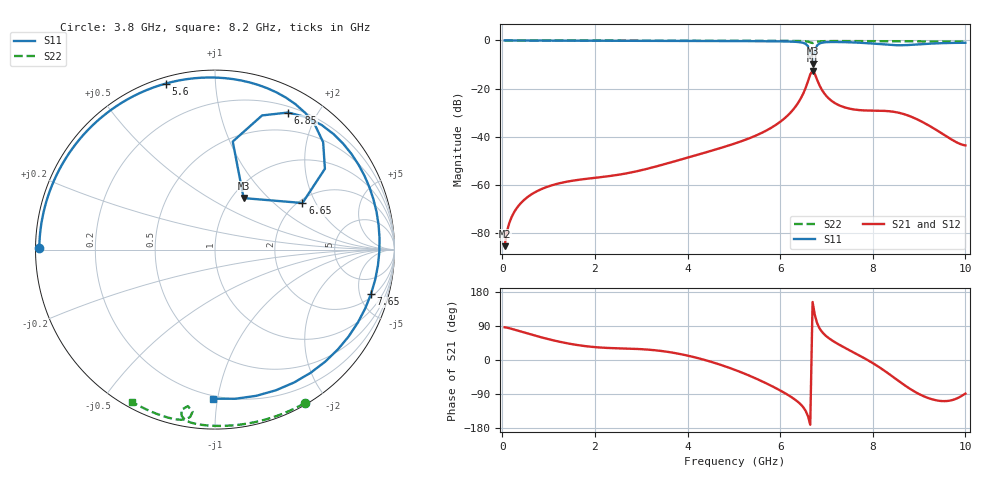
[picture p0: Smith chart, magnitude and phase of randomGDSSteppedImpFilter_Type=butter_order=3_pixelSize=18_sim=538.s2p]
! freq	dB(S11)	phase(S11)	dB(S12)	phase(S12)
!  dB(S21)	phase(S21)	dB(S22)	phase(S22)
!S-par simulation data
#  GHz  S  DB  R 50
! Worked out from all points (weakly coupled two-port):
!   200 points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, 50 MHz to 10 GHz, reference 50 ohm
!   highest |S21| = -12.56 dB at 6.7 GHz (marker M1); lowest = -85.6 dB at 50 MHz (marker M2)
!   lowest |S11| = -9.7 dB at 6.7 GHz (marker M3), VSWR 1.98, Z = 56.6 + j36.4 ohm
!   |S11| at or under -10 dB: nowhere
!   |S22| runs from -1.1 to 0.0 dB; largest |S21 - S12| = 0
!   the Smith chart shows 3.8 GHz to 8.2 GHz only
!   S11 on the Smith chart (normalised r, x): 3.8 GHz: 0.01, +0.00; 5.6 GHz: 0.03, +0.75; 6.65 GHz: 2.10, +1.57; 6.85 GHz: 0.27, +1.64; 7.65 GHz: 2.33, -6.31; 8.2 GHz: 0.18, -0.97
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0.05  -0.00 -3.0  -85.56 86.3  -85.56 86.3  -0.00 -0.8
0.6  -0.04 -35.0  -64.38 68.0  -64.38 68.0  -0.01 -9.8
1.75  -0.11 -95.4  -57.70 37.3  -57.70 37.3  -0.04 -28.3
3.4  -0.17 -165.1  -52.00 24.3  -52.00 24.3  -0.07 -53.8
3.8  -0.18 179.5  -49.84 16.7  -49.84 16.7  -0.08 -59.7
5.05  -0.26 130.5  -42.67 -27.3  -42.67 -27.3  -0.12 -77.8
5.6  -0.31 106.5  -38.46 -55.7  -38.46 -55.7  -0.14 -85.5
6.35  -0.59 65.0  -27.03 -107.1  -27.03 -107.1  -0.21 -96.3
6.55  -1.42 44.8  -19.75 -134.1  -19.75 -134.1  -0.35 -100.2
6.65  -5.16 28.1  -14.12 -170.8  -14.12 -170.8  -0.79 -101.9
6.7  -9.67 60.9  -12.56 153.1  -12.56 153.1  -1.06 -99.8
6.75  -4.29 80.7  -13.96 118.2  -13.96 118.2  -0.80 -97.9
6.85  -1.25 61.9  -18.69 83.6  -18.69 83.6  -0.39 -99.5
7.2  -0.64 26.3  -26.25 45.7  -26.25 45.7  -0.25 -105.4
7.65  -0.88 -15.9  -28.85 15.9  -28.85 15.9  -0.26 -111.6
7.9  -1.15 -45.4  -29.16 -0.9  -29.16 -0.9  -0.28 -114.8
8.2  -1.61 -90.7  -29.25 -23.9  -29.25 -23.9  -0.30 -118.7
8.35  -1.83 -117.9  -29.43 -36.8  -29.43 -36.8  -0.32 -120.6
8.7  -1.95 172.9  -30.80 -67.6  -30.80 -67.6  -0.34 -125.0
9.1  -1.49 105.4  -34.19 -95.7  -34.19 -95.7  -0.38 -130.0
9.55  -1.09 53.3  -39.37 -108.5  -39.37 -108.5  -0.43 -135.7
10  -0.96 16.3  -43.65 -88.6  -43.65 -88.6  -0.48 -141.5
